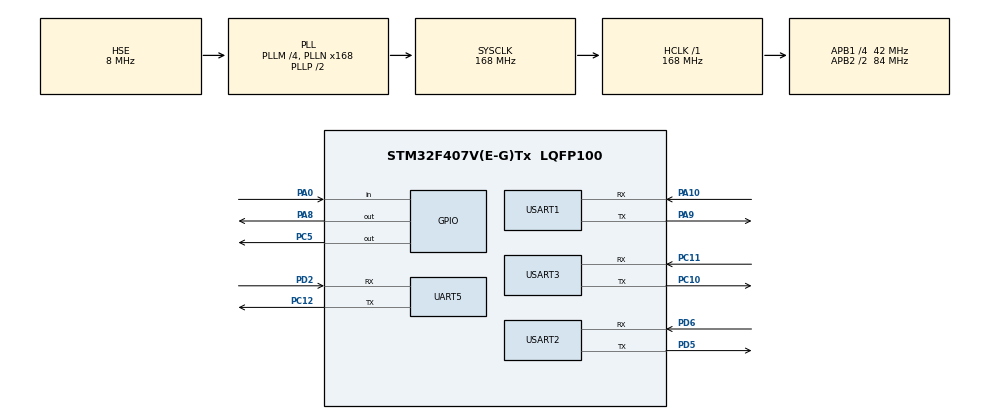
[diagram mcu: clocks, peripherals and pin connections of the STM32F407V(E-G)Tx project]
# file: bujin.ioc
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Dma.Request0=UART5_RX
Dma.Request1=USART1_RX
Dma.UART5_RX.0.Direction=DMA_PERIPH_TO_MEMORY
Dma.UART5_RX.0.FIFOMode=DMA_FIFOMODE_DISABLE
Dma.UART5_RX.0.Instance=DMA1_Stream0
Dma.UART5_RX.0.MemDataAlignment=DMA_MDATAALIGN_BYTE
Dma.UART5_RX.0.MemInc=DMA_MINC_ENABLE
Dma.UART5_RX.0.Mode=DMA_NORMAL
Dma.UART5_RX.0.PeriphDataAlignment=DMA_PDATAALIGN_BYTE
Dma.UART5_RX.0.PeriphInc=DMA_PINC_DISABLE
Dma.UART5_RX.0.Priority=DMA_PRIORITY_LOW
Dma.USART1_RX.1.Direction=DMA_PERIPH_TO_MEMORY
Dma.USART1_RX.1.FIFOMode=DMA_FIFOMODE_DISABLE
Dma.USART1_RX.1.Instance=DMA2_Stream2
Dma.USART1_RX.1.MemDataAlignment=DMA_MDATAALIGN_BYTE
Dma.USART1_RX.1.MemInc=DMA_MINC_ENABLE
Dma.USART1_RX.1.Mode=DMA_NORMAL
Dma.USART1_RX.1.PeriphDataAlignment=DMA_PDATAALIGN_BYTE
Dma.USART1_RX.1.PeriphInc=DMA_PINC_DISABLE
Dma.USART1_RX.1.Priority=DMA_PRIORITY_LOW
FREERTOS.Tasks01=defaultTask,24,128,StartDefaultTask,Default,NULL,Dynamic,NULL,NULL;imu_task,8,128,StartTask02,Default,NULL,Dynamic,NULL,NULL;sum_task,8,128,StartTask03,Default,NULL,Dynamic,NULL,NULL;test_task,8,128,StartTask04,Default,NULL,Dynamic,NULL,NULL
Mcu.Family=STM32F4
Mcu.Name=STM32F407V(E-G)Tx
Mcu.Package=LQFP100
NVIC.DMA1_Stream0_IRQn=true\:5\:0\:false\:false\:true\:true\:false\:true\:true
NVIC.DMA2_Stream2_IRQn=true\:5\:0\:false\:false\:true\:false\:false\:true\:true
NVIC.PriorityGroup=NVIC_PRIORITYGROUP_4
NVIC.TIM7_IRQn=true\:15\:0\:false\:false\:true\:false\:true\:true\:true
NVIC.TimeBase=TIM7_IRQn
NVIC.TimeBaseIP=TIM7
NVIC.USART2_IRQn=true\:6\:0\:true\:false\:true\:true\:true\:true\:true
NVIC.USART3_IRQn=true\:7\:0\:true\:false\:true\:true\:true\:true\:true
PA0-WKUP.GPIO_PuPd=GPIO_PULLDOWN
PA0-WKUP.Signal=GPIO_Input
PA10.Mode=Asynchronous
PA10.Signal=USART1_RX
PA10.Stacked=true
PA13.Mode=Serial_Wire
PA13.Signal=SYS_JTMS-SWDIO
PA14.Mode=Serial_Wire
PA14.Signal=SYS_JTCK-SWCLK
PA8.Signal=GPIO_Output
PA9.Mode=Asynchronous
PA9.Signal=USART1_TX
PA9.Stacked=true
PC10.Mode=Asynchronous
PC10.Signal=USART3_TX
PC10.Stacked=true
PC11.Mode=Asynchronous
PC11.Signal=USART3_RX
PC11.Stacked=true
PC12.Mode=Asynchronous
PC12.Signal=UART5_TX
PC12.Stacked=true
PC5.Signal=GPIO_Output
PD2.Mode=Asynchronous
PD2.Signal=UART5_RX
PD2.Stacked=true
PD5.Mode=Asynchronous
PD5.Signal=USART2_TX
PD5.Stacked=true
PD6.Mode=Asynchronous
PD6.Signal=USART2_RX
PD6.Stacked=true
PH0-OSC_IN.Mode=HSE-External-Oscillator
PH0-OSC_IN.Signal=RCC_OSC_IN
PH1-OSC_OUT.Mode=HSE-External-Oscillator
PH1-OSC_OUT.Signal=RCC_OSC_OUT
ProjectManager.HeapSize=0x200
ProjectManager.StackSize=0x400
ProjectManager.TargetToolchain=Makefile
RCC.48MHZClocksFreq_Value=84000000
RCC.AHBFreq_Value=168000000
RCC.APB1CLKDivider=RCC_HCLK_DIV4
RCC.APB1Freq_Value=42000000
RCC.APB1TimFreq_Value=84000000
RCC.APB2CLKDivider=RCC_HCLK_DIV2
RCC.APB2Freq_Value=84000000
RCC.APB2TimFreq_Value=168000000
RCC.CortexFreq_Value=168000000
RCC.HCLKFreq_Value=168000000
RCC.HSE_VALUE=8000000
RCC.HSI_VALUE=16000000
RCC.LSE_VALUE=32768
RCC.PLLM=4
RCC.PLLN=168
RCC.PLLSourceVirtual=RCC_PLLSOURCE_HSE
RCC.SYSCLKFreq_VALUE=168000000
RCC.SYSCLKSource=RCC_SYSCLKSOURCE_PLLCLK
RCC.VCOOutputFreq_Value=336000000
UART5.VirtualMode=Asynchronous
USART1.VirtualMode=VM_ASYNC
USART2.VirtualMode=VM_ASYNC
USART3.VirtualMode=VM_ASYNC
VP_FREERTOS_VS_CMSIS_V2.Mode=CMSIS_V2
VP_SYS_VS_tim7.Mode=TIM7
board=custom

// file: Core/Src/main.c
/* USER CODE BEGIN Header */
/**
 ******************************************************************************
 * @file           : main.c
 * @brief          : Main program body
 ******************************************************************************
 * @attention
 *
 * Copyright (c) 2024 STMicroelectronics.
 * All rights reserved.
 *
 * This software is licensed under terms that can be found in the LICENSE file
 * in the root directory of this software component.
 * If no LICENSE file comes with this software, it is provided AS-IS.
 *
 ******************************************************************************
 */
/* USER CODE END Header */
#include "main.h"
#include "cmsis_os.h"
#include "dma.h"
#include "usart.h"
#include "gpio.h"

/* USER CODE BEGIN Includes */
#include "stdio.h"
#include "bsp.h"
#include "app.h"
#include "Emm_V5.h"
#include "stdatomic.h"
/* USER CODE END Includes */

/* USER CODE BEGIN PD */

#define PACKET_TYPE_SHORT_HEADER 0x01
#define PACKET_TYPE_LONG_HEADER 0x02
#define SHORT_PACKET_LENGTH 6
#define LONG_PACKET_LENGTH 10
#define RASPI_DATE_TERMINATOR 0xFF
#define RX_BUFFER_SIZE 6 // 数据位长度

typedef enum
{
  WAITING_FOR_HEADER,
  RECEIVING_SHORT_PACKET,
  RECEIVING_LONG_PACKET,
  PACKET_RECEIVED
} UART_ReceiveState;
UART_ReceiveState receiveState;
/* USER CODE END PD */

/* USER CODE BEGIN PV */
// 现在的问题其实是两次进入函数，所以试着加长接受区域，就不会那啥了
// 这个rxcmd1[4]目前没有使用，不会读取电机的反馈，到时候要看返回数据的话，就直接把数据通过串口3发送出去

/// 电机控制串口

#define RXCMD1_DMA_SIZE 31
uint8_t txcmd1[16];                  // 这个是用于给点击发送信号的，所以只要求16位数         // 要可能在开机的时候需要发送指令再次校准，这个到时候写一个专门的函数进行通讯协议
uint8_t rxcmd1_dma[RXCMD1_DMA_SIZE]; //   实际上不需要使用这个，只要在。。。期间不打开DMA 就行了DMA 写入的缓冲区
uint8_t rxcmd1_app[RXCMD1_DMA_SIZE]; // 应用程序读取的缓冲区

// 数据通信格式(任务码，x,y,z,状态)
// 发送格式(状态，完成状态)
// 上位机通信串口
uint8_t rxcmd2[16];  // 接收树莓派的数据
uint8_t txcmd_2[16]; // 发送给树莓派的数据

/// 远程调试串口
uint8_t rxcmd3[16];       // 接收远程串口的数据
uint8_t txcmd3[16] = {0}; // 发送给远程串口的数据

// 陀螺仪串口
#define RXCMD5_DMA_SIZE 33
uint8_t txcmd5[RXCMD5_DMA_SIZE];          // 要可能在开机的时候需要发送指令再次校准，这个到时候写一个专门的函数进行通讯协议
uint8_t rxcmd5_dma[RXCMD5_DMA_SIZE];      // DMA 写入的缓冲区
uint8_t rxcmd5_app[RXCMD5_DMA_SIZE];      // 应用程序读取的缓冲区
volatile bool new_data_available = false; // 标志位，表示新数据是否可用

uint8_t received_byte;
Raspi_Date packet_var2; // 这就是设置一个中间变量，最后反正只要用packet1
Raspi_Date *raspi_date = &packet_var2;

// 用于检测跳变的omega
float omega_1 = 0;
float omega = 0;                      // 陀螺仪反馈的角度
float current_angle_speed = 0;        // 陀螺仪反馈的角速度
uint32_t last_receive_hwt_time = 0;   // 上一次接收陀螺仪数据的时间
uint32_t last_reveive_motor_time = 0; // 上一次接收电机数据的时间

volatile uint32_t last_receive_raspi_time = 0; // 原子变量，中断中更新
uint32_t running_time = 0;                     // 有效运行时间

/* USER CODE END PV */

void SystemClock_Config(void);
void MX_FREERTOS_Init(void);

int main(void)
{

  /* MCU Configuration--------------------------------------------------------*/

  /* Reset of all peripherals, Initializes the Flash interface and the Systick. */
  HAL_Init();

  /* USER CODE BEGIN Init */
  // bsp_Init();

  // app_init();

  /* USER CODE END Init */

  /* Configure the system clock */
  SystemClock_Config();

  /* Initialize all configured peripherals */
  MX_GPIO_Init();
  MX_DMA_Init();
  MX_USART1_UART_Init();
  MX_USART2_UART_Init();
  MX_USART3_UART_Init();
  MX_UART5_Init();
  /* USER CODE BEGIN 2 */

  ////

  ///////
  // HAL_UART_Transmit(&huart3, txcmd3, 16, 100);

  __HAL_UART_ENABLE_IT(&huart5, UART_IT_IDLE);

  HAL_UART_Receive_IT(&huart2, rxcmd2, 1);
  /// 这个既可以是满了的中断，也可以是空闲的中断，要在两个接收中断服务函数里面都写这个
  HAL_UART_Receive_DMA(&huart5, rxcmd5_dma, RXCMD5_DMA_SIZE);

  HAL_UART_Receive_DMA(&huart1, rxcmd1_dma, RXCMD1_DMA_SIZE);

  __HAL_UART_ENABLE_IT(&huart1, UART_IT_IDLE);

  // HAL_UART_Receive_IT(&huart5, &received_byte, 1);  // 启动接收中断

  memset(rxcmd5_dma, 0, RXCMD5_DMA_SIZE);

  memset(rxcmd1_dma, 0, RXCMD1_DMA_SIZE);

  bsp_Init();
  app_init();

  // stm32启动指令（发给树莓派）
  /// 这个是之前的启动代码
  // txcmd_2[0] = 0x00;
  // txcmd_2[1] = 0x01;
  // HAL_UART_Transmit(&huart2, txcmd_2, 2, 0xFFFF);
  // HAL_Delay(1000);
  uint32_t test_time = HAL_GetTick();

  ////////////////////////////这里需要加一个卡死条件
  /* USER CODE END 2 */

  /* Init scheduler */
  // osKernelInitialize();  /* Call init function for freertos objects (in freertos.c) */
  // MX_FREERTOS_Init();

  /* Start scheduler */
  // osKernelStart();

  /* We should never get here as control is now taken by the scheduler */
  /* Infinite loop */
  /* USER CODE BEGIN WHILE */

  while (1)
  {
    ///////////////////这个end while后面不能写东西，不然下次加载vscode会报错
    /* USER CODE END WHILE */

    /* USER CODE BEGIN 3 */

    //初赛代码，

    Stop_to_Order(1);

    Order_or_Precise_to_Plate(1);

    Plate_to_Rough(1);

    Rough_to_Precise(1);

    Order_or_Precise_to_Plate(2);

    Plate_to_Rough(2);

    Rough_to_Precise(2);

  //Test_Run_Only();

  //Test_Run_and_Blog();

  //Car_Ring_Test(10000);

  //Car_Ring_Timeout_Fast(10000 , Hight_Accurate );

  HAL_Delay(10000000);

  app_init();

  }
  /* USER CODE END 3 */
}

void SystemClock_Config(void)
{
  RCC_OscInitTypeDef RCC_OscInitStruct = {0};
  RCC_ClkInitTypeDef RCC_ClkInitStruct = {0};

  /** Configure the main internal regulator output voltage
   */
  __HAL_RCC_PWR_CLK_ENABLE();
  __HAL_PWR_VOLTAGESCALING_CONFIG(PWR_REGULATOR_VOLTAGE_SCALE1);

  /** Initializes the RCC Oscillators according to the specified parameters
   * in the RCC_OscInitTypeDef structure.
   */
  RCC_OscInitStruct.OscillatorType = RCC_OSCILLATORTYPE_HSE;
  RCC_OscInitStruct.HSEState = RCC_HSE_ON;
  RCC_OscInitStruct.PLL.PLLState = RCC_PLL_ON;
  RCC_OscInitStruct.PLL.PLLSource = RCC_PLLSOURCE_HSE;
  RCC_OscInitStruct.PLL.PLLM = 4;
  RCC_OscInitStruct.PLL.PLLN = 168;
  RCC_OscInitStruct.PLL.PLLP = RCC_PLLP_DIV2;
  RCC_OscInitStruct.PLL.PLLQ = 4;
  if (HAL_RCC_OscConfig(&RCC_OscInitStruct) != HAL_OK)
  {
    Error_Handler();
  }

  /** Initializes the CPU, AHB and APB buses clocks
   */
  RCC_ClkInitStruct.ClockType = RCC_CLOCKTYPE_HCLK | RCC_CLOCKTYPE_SYSCLK | RCC_CLOCKTYPE_PCLK1 | RCC_CLOCKTYPE_PCLK2;
  RCC_ClkInitStruct.SYSCLKSource = RCC_SYSCLKSOURCE_PLLCLK;
  RCC_ClkInitStruct.AHBCLKDivider = RCC_SYSCLK_DIV1;
  RCC_ClkInitStruct.APB1CLKDivider = RCC_HCLK_DIV4;
  RCC_ClkInitStruct.APB2CLKDivider = RCC_HCLK_DIV2;

  if (HAL_RCC_ClockConfig(&RCC_ClkInitStruct, FLASH_LATENCY_5) != HAL_OK)
  {
    Error_Handler();
  }
}

/* USER CODE BEGIN 4 */

// 这个是imu的dma接收
// void  HAL_UARTEx_RxEventCallback(UART_HandleTypeDef *huart, uint16_t Size)
//{
//  if (huart == &huart5)
//  {

//   // 获取当前时间
//   lastReceiveTime = HAL_GetTick();

//   for (int i = 0; i < 22; i++) {
//       rxcmd5_app[i] = rxcmd5_dma[i];
//   }
//   memset(rxcmd5_dma,  0  , RXCMD5_DMA_SIZE);

//   // 设置新数据可用标志
//   new_data_available = true;

//   //HAL_UART_Transmit(&huart5, rxcmd5_app, 22 ,0xFF);

//   HAL_UARTEx_ReceiveToIdle_DMA(&huart5, rxcmd5_dma , RXCMD5_DMA_SIZE  );
// }

void HAL_UART_RxCpltCallback(UART_HandleTypeDef *huart)
{
  if (huart == &huart1)
  {
    // 停止 DMA 接收
    // HAL_UART_DMAStop(&huart1);

    // 获取接收到的数据长度
    // uint16_t data_length = RXCMD1_DMA_SIZE - __HAL_DMA_GET_COUNTER(huart1.hdmarx);
    for (int i = 0; i < RXCMD1_DMA_SIZE; i++)
    {
      rxcmd1_app[i] = rxcmd1_dma[i];
    }

    memset(rxcmd1_dma, 0, RXCMD1_DMA_SIZE);

    if (rxcmd1_app[0] >= 0x00 && rxcmd1_app[30] == 0x6B)
    {
      // 超时检测变量
      last_reveive_motor_time = HAL_GetTick();
      // 根据地址判断是哪个电机的数据
      uint8_t motor_id = rxcmd1_app[0]; // 假设第一个字节是电机 ID
      switch (motor_id)
      {
      case 1:
        ParseMotor_Status(rxcmd1_app, motor1_status);
        break;
      case 2:
        ParseMotor_Status(rxcmd1_app, motor2_status);
        break;
      case 3:
        ParseMotor_Status(rxcmd1_app, motor3_status);
        break;
      case 4:
        ParseMotor_Status(rxcmd1_app, motor4_status);
        break;
      default:

        break;
      }
    }
    else
    {
      memset(rxcmd1_app, 0, RXCMD1_DMA_SIZE);
    }

    HAL_UART_Transmit(&huart5, rxcmd1_app, 1, 0xFFFF);
    memset(rxcmd1_app, 0, RXCMD1_DMA_SIZE);
    HAL_UART_Receive_DMA(&huart1, rxcmd1_dma, RXCMD1_DMA_SIZE);
  }

  if (huart == &huart5)
  {
    static int wrap_count = 0;   // 静态本地变量，记录圈数
    static float prev_omega = 0; // 静态本地变量，记录上一次的角度
    uint8_t txcmd_33[0] = {0};

    // 获取当前时间
    last_receive_hwt_time = HAL_GetTick();

    for (int i = 0; i < RXCMD5_DMA_SIZE; i++)
    {
      rxcmd5_app[i] = rxcmd5_dma[i];
    }

    //
    /// 这里想写一个无线串口的转发，但是这是每次收到之后，不是按照“包”
    ////HAL_UART_Transmit(&huart3, rxcmd5_app, RXCMD5_DMA_SIZE ,0xFFFF);
    //
    memset(rxcmd5_dma, 0, RXCMD5_DMA_SIZE);

    for (int i = 0; i < RXCMD5_DMA_SIZE; i++)
    {
      if (rxcmd5_app[i] == 0x2E)
      {
        if (rxcmd5_app[i + 1] == 0x2E && rxcmd5_app[i + 2] == 0x2E)
        {
          memset(rxcmd5_app, 0, RXCMD5_DMA_SIZE);
        }
      }
    }

    for (int i = 0; i < RXCMD5_DMA_SIZE - 7; i++)
    {

      if (rxcmd5_app[i] == 0x55 && rxcmd5_app[i + 1] == 0x53)

      {
        // 计算当前角度（ - 180 到 180 度）

        omega_1 = ((float)((int16_t)(rxcmd5_app[i + 7] << 8) | rxcmd5_app[i + 6])) / 32768 * 180;
        // omega_1 = ((float)((int16_t)(rx_buffer[5] << 8) | rx_buffer[6])) / 32768 * 180;

        // new_data_available = false; // 清除标志

        // txcmd_33[0] = (uint8_t)(omega_1);

        // HAL_UART_Transmit(&huart3, txcmd_33, 1, 0xFFFF);
        // HAL_UART_Transmit(&huart3, txcmd_33 , 1, 0xFFFF);

        // 检测跳变并更新圈数
        if (prev_omega < 180 && prev_omega > 90 && omega_1 < -90 && omega_1 > -180)
        {
          wrap_count++; // 正向跳变（经过 180 度）
        }
        else if (prev_omega < -90 && prev_omega > -180 && omega_1 > 90 && omega_1 < 180)
        {
          wrap_count--; // 负向跳变（经过 -180 度）
        }
        else
        {
          wrap_count = wrap_count;
        }

        if (omega_1 != 180 && omega_1 != -180)
        {
          // 计算实际角度
          omega = omega_1 + wrap_count * 360.0f;

          // uint8_t txcmd_33[1] = {0};

          // txcmd_33[0] = (uint8_t)(omega);

          // HAL_UART_Transmit(&huart3, txcmd_33, 1, 0xFF);

          // 更新上一次的角度
          prev_omega = omega_1;

          // return omega;
          //         }
        }
      }

      if (rxcmd5_app[i] == 0x55 && rxcmd5_app[i + 1] == 0x52)
      {
        current_angle_speed = ((float)((int16_t)(rxcmd5_app[i + 7] << 8) | rxcmd5_app[i + 6])) / 32768 * 2000;
        // omega_1 = ((float)((int16_t)(rx_buffer[5] << 8) | rx_buffer[6])) / 32768 * 180;

        // float ceshi[2] = {0};

        // ceshi[0] = current_angle_speed;
        // ceshi[1] = omega ;

        // // new_data_available = false; // 清除标志
        // SendMultiFloat2Vofa(ceshi, 2);
      }
    }
    // }

    // HAL_UART_Transmit(&huart5, rxcmd5_app, 22 ,0xFF);

    HAL_UART_Receive_DMA(&huart5, rxcmd5_dma, RXCMD5_DMA_SIZE);
  }

  if (huart == &huart2)
  {

    if (receiveState == WAITING_FOR_HEADER)
    {
      // 检查帧头
      if (rxcmd2[0] == PACKET_TYPE_SHORT_HEADER)
      {
        receiveState = RECEIVING_SHORT_PACKET;
        // 不需要设置receivedLength，因为包长度是固定的
        HAL_UART_Receive_IT(&huart2, &rxcmd2[1], SHORT_PACKET_LENGTH - 1); // 减去帧头长度
      }
      else if (rxcmd2[0] == PACKET_TYPE_LONG_HEADER)
      {
        receiveState = RECEIVING_LONG_PACKET;
        // 不需要设置receivedLength，因为包长度是固定的
        HAL_UART_Receive_IT(&huart2, &rxcmd2[1], LONG_PACKET_LENGTH - 1); // 减去帧头长度
      }
      else
      {
        // 未知的帧头，重置状态并继续等待新的帧头
        receiveState = WAITING_FOR_HEADER;
        HAL_UART_Receive_IT(&huart2, rxcmd2, 1);
      }
    }
    else if (receiveState == RECEIVING_SHORT_PACKET || receiveState == RECEIVING_LONG_PACKET)
    {
      // 数据包接收完成
      receiveState = PACKET_RECEIVED;

      // 在这里处理接收到的数据包
      if (rxcmd2[0] == PACKET_TYPE_SHORT_HEADER)
      {
        if (rxcmd2[SHORT_PACKET_LENGTH - 1] == RASPI_DATE_TERMINATOR)
        { // 收到不回复

          // 解算order
          uint16_t ref_order1_recieved = (rxcmd2[1] << 8) | rxcmd2[2];
          uint16_t ref_order2_recieved = (rxcmd2[3] << 8) | rxcmd2[4];

          uint16_t ref_order1_recieved_original = ref_order1_recieved;
          uint16_t ref_order2_recieved_original = ref_order2_recieved;

          raspi_date->order1[2] = ref_order1_recieved % 10;
          ref_order1_recieved /= 10;
          raspi_date->order1[1] = ref_order1_recieved % 10;
          ref_order1_recieved /= 10;
          raspi_date->order1[0] = ref_order1_recieved;

          raspi_date->order2[2] = ref_order2_recieved % 10;
          ref_order2_recieved /= 10;
          raspi_date->order2[1] = ref_order2_recieved % 10;
          ref_order2_recieved /= 10;
          raspi_date->order2[0] = ref_order2_recieved;
        }
        else
        {
          // 收错回复
          uint8_t Reply[1] = {0x00};
          Reply[0] = 0xFF;
          HAL_UART_Transmit(&huart2, Reply, 1, 0xFFFF);
          memset(rxcmd2, 0, sizeof(rxcmd2));
        }
      }
      else if (rxcmd2[0] == PACKET_TYPE_LONG_HEADER)
      {
        if (rxcmd2[LONG_PACKET_LENGTH - 1] == RASPI_DATE_TERMINATOR)
        { // 收到不回复
          // 解算树莓派cmd数据
          raspi_date->ref_y = (float)((rxcmd2[1] << 8) | rxcmd2[2]);
          raspi_date->ref_y = raspi_date->ref_y * 640 / 1000; // 这个修正逻辑看起来是有问题的，因为ref_x还没有被赋值。
          raspi_date->ref_x = (float)((rxcmd2[3] << 8) | rxcmd2[4]);
          raspi_date->ref_x = raspi_date->ref_x * 480 / 1000; // 同样，这个修正逻辑也是有问题的。
          raspi_date->ref_z = (int32_t)((rxcmd2[5] << 8) | rxcmd2[6]);
          raspi_date->ref_z = raspi_date->ref_z - 26946; // 这个修正逻辑可能也是不正确的，取决于你的具体需求。
          raspi_date->taskID = rxcmd2[7];
          raspi_date->taskstate = rxcmd2[8];

          last_receive_raspi_time = HAL_GetTick();

          // ////用于计算超出时间的逻辑
          // atomic_store(&last_receive_raspi_time, HAL_GetTick());
        }
        else
        {
          uint8_t Reply[1] = {0x00};
          Reply[0] = 0xFF;
          HAL_UART_Transmit(&huart2, Reply, 1, 0xFFFF);
          memset(rxcmd2, 0, sizeof(rxcmd2));
        }
      }
      // 准备接收下一个数据包
      receiveState = WAITING_FOR_HEADER;
      HAL_UART_Receive_IT(&huart2, rxcmd2, 1); // 开始等待新的帧头
    }
  }
}

/* USER CODE END 4 */

void HAL_TIM_PeriodElapsedCallback(TIM_HandleTypeDef *htim)
{
  if (htim->Instance == TIM7)
  {
    HAL_IncTick();
  }
}

void Error_Handler(void)
{
  __disable_irq();
  while (1)
  {
  }
}
